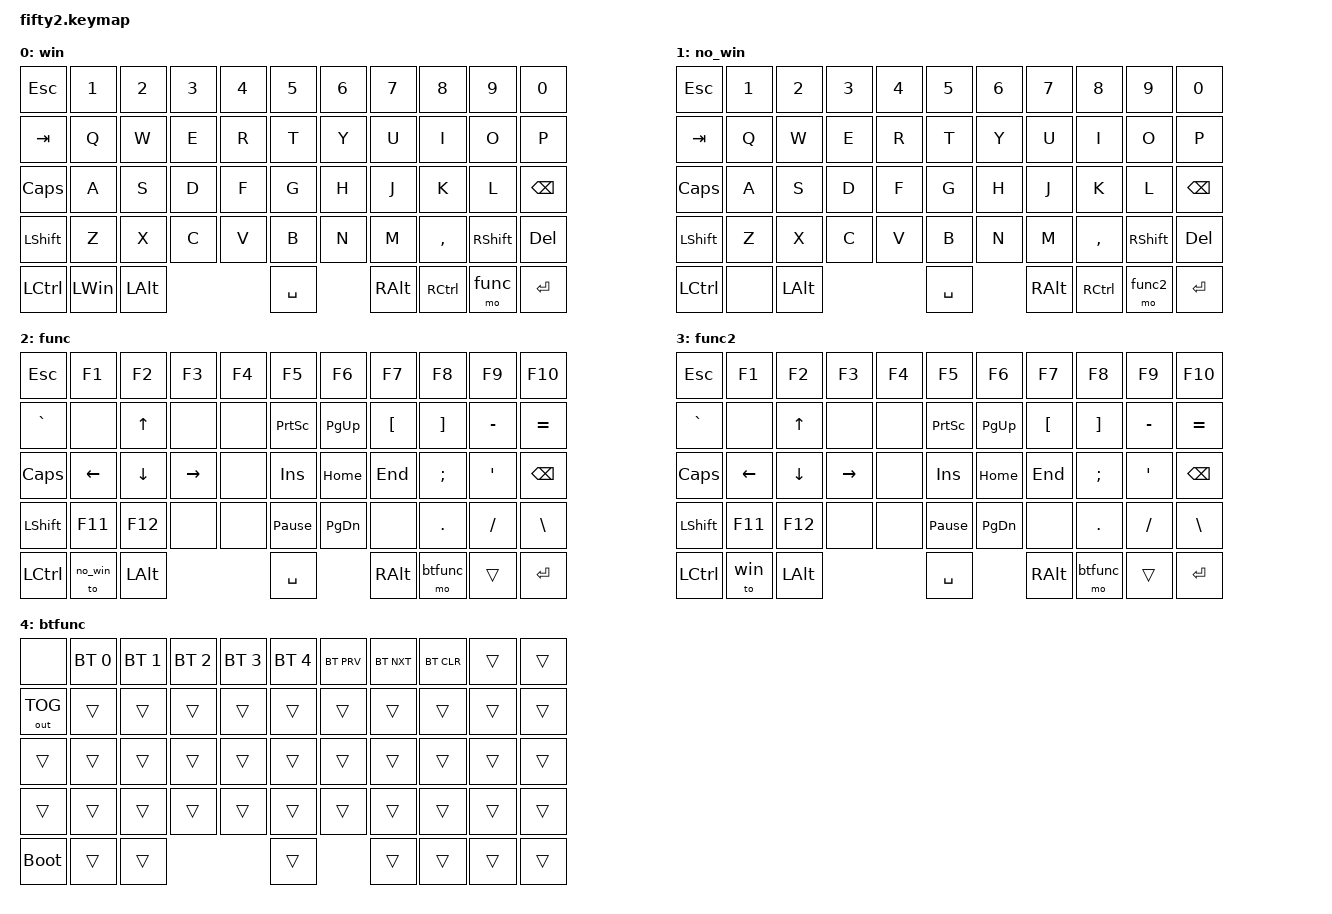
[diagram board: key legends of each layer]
#include <behaviors.dtsi>
#include <dt-bindings/zmk/keys.h>
#include <dt-bindings/zmk/bt.h>
#include <dt-bindings/zmk/outputs.h>

#define win       0
#define no_win    1
#define func      2
#define func2     3
#define btfunc    4

/ {
    keymap {
        compatible = "zmk,keymap";

        win {
            bindings = <
                &kp ESC    &kp N1       &kp N2      &kp N3      &kp N4   &kp N5     &kp N6      &kp N7      &kp N8     &kp N9  	    &kp N0
                &kp TAB    &kp Q        &kp W       &kp E       &kp R    &kp T      &kp Y 	    &kp U       &kp I      &kp O   	    &kp P
                &kp CAPS   &kp A  	    &kp S       &kp D       &kp F    &kp G      &kp H  	    &kp J       &kp K      &kp L   	    &kp BSPC
                &kp LSHFT  &kp Z  	    &kp X       &kp C       &kp V    &kp B      &kp N       &kp M       &kp COMMA  &kp RSHFT 	&kp DEL
                &kp LCTRL  &kp LWIN     &kp LALT  					     &kp SPACE 		        &kp RALT    &kp RCTRL  &mo func		&kp ENTER
            >;
        };
        
        no_win {
            bindings = <
                &kp ESC    &kp N1       &kp N2      &kp N3      &kp N4   &kp N5     &kp N6      &kp N7      &kp N8     &kp N9  	    &kp N0
                &kp TAB    &kp Q        &kp W       &kp E       &kp R    &kp T      &kp Y 	    &kp U       &kp I      &kp O   	    &kp P
                &kp CAPS   &kp A  	    &kp S       &kp D       &kp F    &kp G      &kp H  	    &kp J       &kp K      &kp L   	    &kp BSPC
                &kp LSHFT  &kp Z  	    &kp X       &kp C       &kp V    &kp B      &kp N       &kp M       &kp COMMA  &kp RSHFT 	&kp DEL
                &kp LCTRL  &none        &kp LALT  					     &kp SPACE 		        &kp RALT    &kp RCTRL  &mo func2	&kp ENTER
            >;
        };

        func {
            bindings = <
                &kp ESC    &kp F1       &kp F2      &kp F3	    &kp F4   &kp F5          &kp F6	    &kp F7      &kp F8      &kp F9  	&kp F10
                &kp GRAVE  &none        &kp UP      &none    	&none    &kp PSCRN       &kp PG_UP  &kp LBKT    &kp RBKT    &kp MINUS   &kp EQUAL
                &kp CAPS   &kp LEFT     &kp DOWN    &kp RIGHT	&none    &kp INS         &kp HOME   &kp END     &kp SEMI    &kp APOS   	&kp BSPC
                &kp LSHFT  &kp F11  	&kp F12     &none    	&none    &kp PAUSE_BREAK &kp PG_DN  &none       &kp DOT	    &kp FSLH 	&kp BSLH
                &kp LCTRL  &to no_win   &kp LALT  				         &kp SPACE 		 &kp RALT   &mo btfunc  &trans   	&kp ENTER
            >;
        };
        
        func2 {
            bindings = <
                &kp ESC    &kp F1       &kp F2      &kp F3	    &kp F4   &kp F5          &kp F6	    &kp F7      &kp F8      &kp F9  	&kp F10
                &kp GRAVE  &none        &kp UP      &none    	&none    &kp PSCRN       &kp PG_UP  &kp LBKT    &kp RBKT    &kp MINUS   &kp EQUAL
                &kp CAPS   &kp LEFT     &kp DOWN    &kp RIGHT	&none    &kp INS         &kp HOME   &kp END     &kp SEMI    &kp APOS   	&kp BSPC
                &kp LSHFT  &kp F11  	&kp F12     &none    	&none    &kp PAUSE_BREAK &kp PG_DN  &none       &kp DOT	    &kp FSLH 	&kp BSLH
                &kp LCTRL  &to win      &kp LALT  				         &kp SPACE 		 &kp RALT   &mo btfunc  &trans   	&kp ENTER
            >;
        };


        btfunc {
            bindings = <
                &none        &bt BT_SEL 0 &bt BT_SEL 1 &bt BT_SEL 2 &bt BT_SEL 3 &bt BT_SEL 4 &bt BT_PRV &bt BT_NXT &bt BT_CLR &trans  &trans  
                &out OUT_TOG &trans       &trans       &trans       &trans       &trans       &trans     &trans     &trans     &trans  &trans
                &trans       &trans       &trans       &trans       &trans       &trans       &trans     &trans     &trans     &trans  &trans
                &trans       &trans       &trans       &trans       &trans       &trans       &trans     &trans     &trans     &trans  &trans
                &bootloader  &trans       &trans       					         &trans      			 &trans	    &trans     &trans  &trans
            >;
        };
    };
};

/* Keymap layout for http://www.keyboard-layout-editor.com/#/
*

[{ "c" : "#ffffff" },"Esc","1","2","3","4","5","6","7","8","9","0","Back<br>Space"],
["Tab","Q","W","E","R","T","Y","U","I","O","P","Del"],
[{w:1.25},"Caps","A","S","D","F","G","H","J","K","L",{w:1.75},"Enter"],
[{w:1.75},"Shift","Z","X","C","V","B","N","M","<\n,",{w:1.25},"Shift","Fn"],
[{w:1.25},"Ctrl","Win","Alt",{w:6.25},"",{w:1.25},"Alt",{w:1.25},"Ctrl"],

[{y:1},"Esc","F1","F2","F3","F4","F5","F6","F7","F8","F9","F10","Back<br>Space"],
["~ <br>`","","UP","","","Print<br>Screen","Page<br>Up","{\n[","}\n]","_\n-","+\n=","|\n\\"],
[{w:1.25},"Caps","LEFT","DOWN","RIGHT","","Insert","Home","End",":\n;","\"\n'",{w:1.75},"Enter"],
[{w:1.75},"Shift","F11","F12","","","Pause","Page<br>Down","",">\n.",{w:1.25},"?\n/",{ "c" : "#ff0000" },"Fn",{ "c" : "#ffffff" }],
[{w:1.25},"Ctrl","TOG<br>WIN","Alt",{a:7,w:6.25},"",{w:1.25},"Alt",{w:1.25},"BT<br>FUNC"],

[{y:1,a:7},"",{a:4},"BT1","BT2","BT3","BT4","BT5","BT<br>PREV","BT<br>NEXT","BT<br>CLR","","",""],
["OUT<br>TOG","","","","","","","","","","",""],
[{w:1.25},"","","","","","","","","","",{w:1.75},""],
[{w:1.75},"","","","","","","","","",{w:1.25},"",{ "c" : "#ff0000" },"Fn",{ "c" : "#ffffff" }],
[{a:4,w:1.25},"BOOT<br>LODR","","",{w:6.25},"",{w:1.25},"",{w:1.25},{ "c" : "#ff0000" },"BT<br>FUNC",{ "c" : "#ffffff" }]

*
*/
